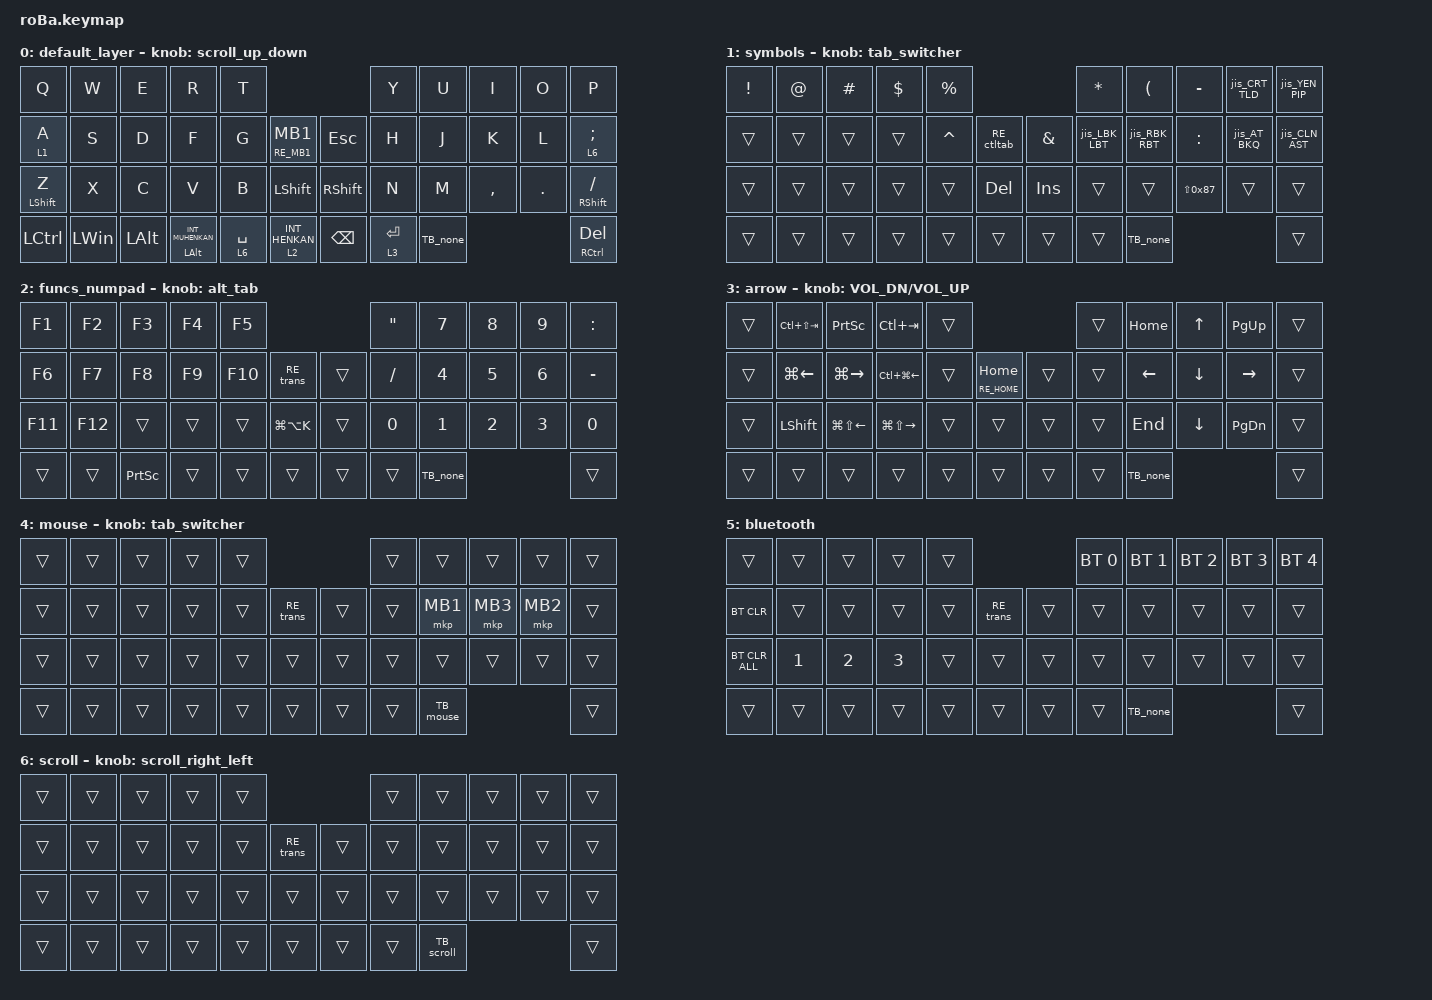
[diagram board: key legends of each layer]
#include <behaviors.dtsi>
#include <dt-bindings/zmk/bt.h>
#include <dt-bindings/zmk/keys.h>
#include <dt-bindings/zmk/outputs.h>
#include <dt-bindings/zmk/pointing.h>
#include <input/processors.dtsi>
#include <dt-bindings/zmk/input_transform.h>
#include <zephyr/dt-bindings/input/input-event-codes.h>
#include <scroll-snap.dtsi>

// Layer Indexes

#define DEFAULT 0
#define SYMBOLS 1
#define FUNCS_NUMPAD 2
#define ARROW 3
#define MOUSE 4
#define BLUETOOTH 5
#define SCROLL 6

// -------------------- JIS Key Conversion Macros (日本語キーボード変換定義) --------------------

#define JP_DQUOTE       AT                // "
#define JP_AMPERSAND    CARET             // &
#define JP_QUOTE        AMPERSAND         // '
#define JP_EQUAL        UNDER             // =
#define JP_CARET        EQUAL             // ^
#define JP_YEN          0x89              // ¥
#define JP_PLUS         COLON             // +
#define JP_TILDE        PLUS              // ~
#define JP_PIPE         LS(0x89)          // |
#define JP_AT           LEFT_BRACKET      // @
#define JP_COLON        SINGLE_QUOTE      // :
#define JP_ASTERISK     DOUBLE_QUOTES     // *
#define JP_BACKQUOTE    LEFT_BRACE        // `
#define JP_UNDERSCORE   LS(0x87)          // _
#define JP_LBRACKET     RIGHT_BRACKET     // [
#define JP_RBRACKET     BACKSLASH         // ]
#define JP_LPAREN       ASTERISK          // (
#define JP_RPAREN       LEFT_PARENTHESIS  // )
#define JP_LBRACE       RIGHT_BRACE       // {
#define JP_RBRACE       PIPE              // }
#define JP_KANA         LANGUAGE_1        // かな
#define JP_EISU         LANGUAGE_2        // 英数
#define JP_HANZEN       GRAVE             // 半角/全角

// -------------------- Behavior Parameters --------------------


&mt {
    flavor = "balanced";
    tapping-term-ms = <250>;
    quick-tap-ms = <100>;
    require-prior-idle-ms = <100>;
};

&lt {
    tapping-term-ms = <250>;
    quick-tap-ms = <100>;
    require-prior-idle-ms = <100>;
    flavor = "balanced";
};

&trackball {
    cpi = <800>;
    //swap-xy;
};

&mkp_input_listener { input-processors = <&zip_temp_layer 4 3000>; };

/ {
    // -------- Combos --------

    combos {
        compatible = "zmk,combos";

        default_esc {
            bindings = <&kp ESC>;
            key-positions = <0 1>;
            layers = <0>;
        };

        tab {
            bindings = <&kp TAB>;
            key-positions = <1 2>;
            layers = <0>;
        };

        shift_tab {
            bindings = <&kp LS(TAB)>;
            key-positions = <2 3>;
            layers = <0>;
        };

        bt_setting {
            bindings = <&lt 5 LA(B)>;
            key-positions = <25 35>;
            layers = <0>;
        };

        hyphen {
            bindings = <&kp MINUS>;
            key-positions = <7 8>;
            layers = <0>;
        };

        cpline {
            bindings = <&copy_line>;
            key-positions = <6 7>;
            layers = <0>;
        };

        cpbef {
            bindings = <&copy_before>;
            key-positions = <17 18>;
            layers = <0>;
        };

        cpaft {
            bindings = <&copy_after>;
            key-positions = <29 30>;
            layers = <0>;
        };
    };

    // -------- Macros --------

    macros {
        exit_AML: exit_AML {
            compatible = "zmk,behavior-macro";
            wait-ms = <0>;
            tap-ms = <0>;
            #binding-cells = <0>;
            bindings = <&tog_off 4>;
            label = "exit_AML";
        };

        kp_exit_AML: kp_exit_AML {
            compatible = "zmk,behavior-macro-one-param";
            wait-ms = <0>;
            tap-ms = <0>;
            #binding-cells = <1>;
            bindings = <&macro_param_1to1 &kp MACRO_PLACEHOLDER &exit_AML>;
            label = "KP_exit_AML";
        };

        copy_before: copy_before {
            compatible = "zmk,behavior-macro";
            #binding-cells = <0>;
            bindings = <&kp HOME &kp LS(END) &kp LC(C)>;
            label = "COPY_BEFORE";
        };

        copy_line: copy_line {
            compatible = "zmk,behavior-macro";
            #binding-cells = <0>;
            bindings = <&kp LS(HOME) &kp LC(C)>;
            label = "COPY_LINE";
        };

        copy_after: copy_after {
            compatible = "zmk,behavior-macro";
            #binding-cells = <0>;
            bindings = <&kp LS(END) &kp LC(C)>;
            label = "COPY_AFTER";
        };
    };

    // -------- Behaviors --------

    behaviors {
        scroll_up_down: behavior_sensor_rotate_mouse_wheel_up_down {
            compatible = "zmk,behavior-sensor-rotate";
            #sensor-binding-cells = <0>;
            bindings = <&msc SCRL_UP>, <&msc SCRL_DOWN>;

            tap-ms = <20>;
        };

        scroll_right_left: mouse_wheel_right_left {
            compatible = "zmk,behavior-sensor-rotate";
            #sensor-binding-cells = <0>;
            bindings = <&msc SCRL_LEFT>, <&msc SCRL_RIGHT>;

            tap-ms = <20>;
        };

        tab_switcher: tab_switcher {
            compatible = "zmk,behavior-sensor-rotate";
            #sensor-binding-cells = <0>;
            bindings = <&kp LC(PAGE_UP)>, <&kp LC(PAGE_DOWN)>;

            tap-ms = <20>;
        };

        alt_tab: alt_tab {
            compatible = "zmk,behavior-sensor-rotate";
            #sensor-binding-cells = <0>;
            bindings = <&kp TAB>, <&kp LS(TAB)>;

            tap-ms = <20>;
        };

        // --- JIS Key Mod Morph Behaviors ---
        jis_CRT_TLD: jis_CRT_TLD {
            compatible = "zmk,behavior-mod-morph";
            label = "^ ~";
            #binding-cells = <0>;
            bindings = <&kp JP_CARET>, <&kp JP_TILDE>;

            mods = <(MOD_LSFT|MOD_RSFT)>;
        };

        jis_YEN_PIP: jis_YEN_PIP {
            compatible = "zmk,behavior-mod-morph";
            label = "\\ |";
            #binding-cells = <0>;
            bindings = <&kp JP_YEN>, <&kp JP_PIPE>;

            mods = <(MOD_LSFT|MOD_RSFT)>;
        };

        jis_AT_BKQ: jis_AT_BKQ {
            compatible = "zmk,behavior-mod-morph";
            label = "@ `";
            #binding-cells = <0>;
            bindings = <&kp JP_AT>, <&kp JP_BACKQUOTE>;

            mods = <(MOD_LSFT|MOD_RSFT)>;
        };

        jis_CLN_AST: jis_CLN_AST {
            compatible = "zmk,behavior-mod-morph";
            label = "CLN AST";
            #binding-cells = <0>;
            bindings = <&kp JP_COLON>, <&kp JP_ASTERISK>;

            mods = <(MOD_LSFT|MOD_RSFT)>;
        };

        jis_YEN_UNS: jis_YEN_UNS {
            compatible = "zmk,behavior-mod-morph";
            label = "\\ _";
            #binding-cells = <0>;
            bindings = <&kp JP_YEN>, <&kp JP_UNDERSCORE>;

            mods = <(MOD_LSFT|MOD_RSFT)>;
        };

        jis_LBK_LBT: jis_LBK_LBT {
            compatible = "zmk,behavior-mod-morph";
            label = "LBK LBT";
            #binding-cells = <0>;
            bindings = <&kp JP_LBRACKET>, <&kp JP_LBRACE>;

            mods = <(MOD_LSFT|MOD_RSFT)>;
        };

        jis_RBK_RBT: jis_RBK_RBT {
            compatible = "zmk,behavior-mod-morph";
            label = "RBK RBT";
            #binding-cells = <0>;
            bindings = <&kp JP_RBRACKET>, <&kp JP_RBRACE>;

            mods = <(MOD_LSFT|MOD_RSFT)>;
        };

        tog_off: toggle_layer_off {
            compatible = "zmk,behavior-toggle-layer";
            #binding-cells = <1>;
            display-name = "Toggle Layer Off";
            toggle-mode = "off";
        };

        mt_exit_AML: mt_exit_AML_on_tap {
            compatible = "zmk,behavior-hold-tap";
            label = "MT_exit_AML_ON_TAP";
            bindings = <&kp>, <&kp_exit_AML>;

            #binding-cells = <2>;
            tapping-term-ms = <250>;
            flavor = "balanced";
            quick-tap-ms = <175>;
            require-prior-idle-ms = <150>;
        };


        // --- Shift有無で「半角/全角」↔「かな」を切り替える ---
        zh_kana: zenkaku_hankaku_or_kana {
            compatible = "zmk,behavior-mod-morph";
            label = "ZH_KANA";
            #binding-cells = <0>;

            // デフォルト（Shiftなし）：半角/全角 → GRAVE
            // Shiftあり：かな → LANGUAGE_1
            bindings = <&kp GRAVE>, <&kp LANGUAGE_1>;

            // 左右Shiftのいずれかでモーフを発動
            mods = <(MOD_LSFT | MOD_RSFT)>;

            // Shiftを「かな」送出に載せたくないので 0（デフォルト）でOK
            // keep-mods = <0>;
        };

        // --- 長押しでレイヤー2、タップ側は上のMod-Morph ---
        lt2_zh_kana: layer2_hold_tap {
            compatible = "zmk,behavior-hold-tap";
            label = "LT2_ZH_KANA";
            #binding-cells = <2>; // 2に変更
            bindings = <&mo>, <&zh_kana>;
            flavor = "tap-preferred";
            tapping-term-ms = <200>;
        };

        TB_none: TB_none {
            compatible = "zmk,behavior-none";
            #binding-cells = <0>;
        };
        TB_mouse: TB_mouse {
            compatible = "zmk,behavior-none";
            #binding-cells = <0>;
        };
        TB_scroll: TB_scroll {
            compatible = "zmk,behavior-none";
            #binding-cells = <0>;
        };

        RE_trans: RE_trans {
            compatible = "zmk,behavior-none";
            #binding-cells = <0>;
        };
        RE_scroll: RE_scroll {
            compatible = "zmk,behavior-none";
            #binding-cells = <0>;
        };
        RE_alttab: RE_alttab {
            compatible = "zmk,behavior-none";
            #binding-cells = <0>;
        };
        RE_volume: RE_volume {
            compatible = "zmk,behavior-none";
            #binding-cells = <0>;
        };
        RE_ctltab: RE_ctltab {
            compatible = "zmk,behavior-none";
            #binding-cells = <0>;
        };

        RE_sidesc: RE_sidesc {
            compatible = "zmk,behavior-none";
            #binding-cells = <0>;
        };
        RE_HOME: RE_HOME {
            compatible = "zmk,behavior-key-press";
            #binding-cells = <1>;
        };
        RE_MB1: RE_MB1 {
            compatible = "zmk,behavior-mouse-keypress";
            #binding-cells = <1>;
        };
    };

    // -------- Keymaps --------

    keymap {
        compatible = "zmk,keymap";

        default_layer {
            bindings = <
&kp Q                  &kp W         &kp E         &kp R                               &kp T                                          &kp Y        &kp U  &kp I      &kp O       &kp P
&lt 1 A                &kp S         &kp D         &kp F                               &kp G        &RE_MB1 MB1        &kp ESC        &kp H        &kp J  &kp K      &kp L       &lt 6 SEMICOLON
&mt_exit_AML LSHIFT Z  &kp X         &kp C         &kp V                               &kp B        &kp LSHIFT         &kp RSHIFT     &kp N        &kp M  &kp COMMA  &kp PERIOD  &mt RIGHT_SHIFT SLASH
&kp LCTRL              &kp LEFT_WIN  &kp LEFT_ALT  &mt_exit_AML LEFT_ALT INT_MUHENKAN  &lt 6 SPACE  &lt 2 INT_HENKAN   &kp BACKSPACE  &lt 3 ENTER  &TB_none                      &mt RIGHT_CONTROL DEL
            >;

            sensor-bindings = <&scroll_up_down>;
        };

        symbols {
            bindings = <
&kp EXCLAMATION  &kp JP_DQUOTE  &kp HASH  &kp DOLLAR  &kp PERCENT                                       &kp JP_LPAREN  &kp JP_RPAREN   &kp MINUS          &jis_CRT_TLD  &jis_YEN_PIP
&trans           &trans         &trans    &trans      &kp JP_AMPERSAND &RE_ctltab         &kp JP_QUOTE  &jis_LBK_LBT   &jis_RBK_RBT    &kp JP_PLUS        &jis_AT_BKQ   &jis_CLN_AST
&trans           &trans         &trans    &trans      &trans           &kp DEL            &kp INSERT    &trans         &trans          &kp JP_UNDERSCORE  &trans        &trans
&trans           &trans         &trans    &trans      &trans           &trans             &trans        &trans         &TB_none                                         &trans
            >;

            sensor-bindings = <&tab_switcher>;
        };

        funcs_numpad {
            bindings = <
&kp F1   &kp F2   &kp F3           &kp F4      &kp F5                             &kp JP_ASTERISK  &kp N7  &kp N8  &kp N9  &kp JP_PLUS
&kp F6   &kp F7   &kp F8           &kp F9      &kp F10   &RE_trans     &trans     &kp SLASH        &kp N4  &kp N5  &kp N6  &kp MINUS
&kp F11  &kp F12  &trans           &trans      &trans    &kp LG(LA(K)) &trans     &kp N0           &kp N1  &kp N2  &kp N3  &kp N0
&trans   &trans   &kp PRINTSCREEN  &trans      &trans    &trans        &trans     &trans           &TB_none                &trans
            >;

            sensor-bindings = <&alt_tab>;
        };

        arrow {
            bindings = <
&trans  &kp LC(LS(TAB))     &kp PRINTSCREEN         &kp LC(TAB)              &trans                                         &trans  &kp HOME        &kp UP_ARROW    &kp PAGE_UP      &trans
&trans  &kp LG(LEFT_ARROW)  &kp LG(RIGHT_ARROW)     &kp LC(LG(LEFT_ARROW))   &trans                   &RE_HOME HOME &trans  &trans  &kp LEFT_ARROW  &kp DOWN_ARROW  &kp RIGHT_ARROW  &trans
&trans  &kp LEFT_SHIFT      &kp LG(LS(LEFT_ARROW))  &kp LG(LS(RIGHT_ARROW))  &trans                   &trans        &trans  &trans  &kp END         &kp DOWN_ARROW  &kp PAGE_DOWN    &trans
&trans  &trans              &trans                  &trans                   &trans                   &trans        &trans  &trans  &TB_none                                         &trans
            >;

            sensor-bindings = <&inc_dec_kp C_VOL_DN C_VOL_UP>;
        };

        mouse {
            bindings = <
&trans  &trans  &trans  &trans  &trans                      &trans  &trans    &trans    &trans    &trans
&trans  &trans  &trans  &trans  &trans  &RE_trans   &trans  &trans  &mkp MB1  &mkp MB3  &mkp MB2  &trans
&trans  &trans  &trans  &trans  &trans  &trans      &trans  &trans  &trans    &trans    &trans    &trans
&trans  &trans  &trans  &trans  &trans  &trans      &trans  &trans  &TB_mouse                     &trans
            >;

            sensor-bindings = <&tab_switcher>;
        };

        bluetooth {
            bindings = <
&trans  &trans  &trans  &trans  &trans                                 &bt BT_SEL 0  &bt BT_SEL 1  &bt BT_SEL 2  &bt BT_SEL 3  &bt BT_SEL 4
&bt BT_CLR      &trans  &trans  &trans  &trans     &RE_trans   &trans  &trans        &trans        &trans        &trans        &trans
&bt BT_CLR_ALL  &kp N1  &kp N2  &kp N3  &trans     &trans      &trans  &trans        &trans        &trans        &trans        &trans
&trans          &trans  &trans  &trans  &trans     &trans      &trans  &trans        &TB_none                                   &trans
            >;
        };

        scroll {
            bindings = <
&trans  &trans  &trans  &trans  &trans                    &trans  &trans  &trans  &trans  &trans
&trans  &trans  &trans  &trans  &trans  &RE_trans &trans  &trans  &trans  &trans  &trans  &trans
&trans  &trans  &trans  &trans  &trans  &trans    &trans  &trans  &trans  &trans  &trans  &trans
&trans  &trans  &trans  &trans  &trans  &trans    &trans  &trans  &TB_scroll              &trans
            >;

            sensor-bindings = <&scroll_right_left>;
        };
    };
};
